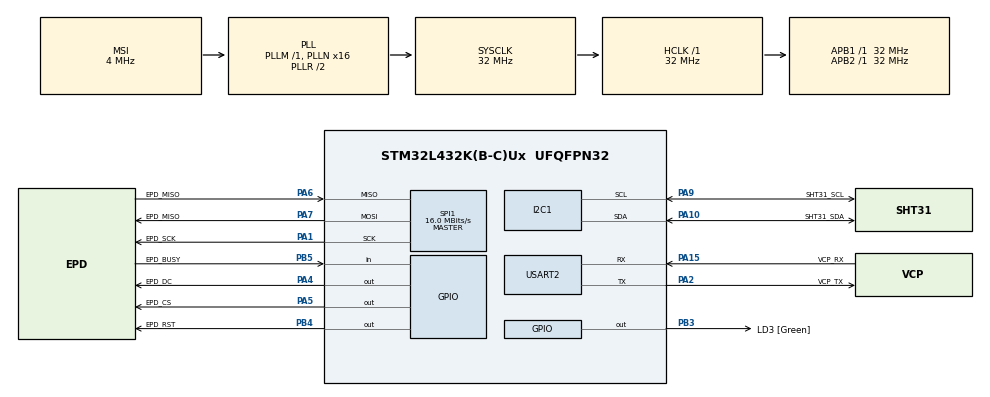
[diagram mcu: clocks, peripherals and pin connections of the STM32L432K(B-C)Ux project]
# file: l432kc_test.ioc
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I2C1.Timing=0x00707CBB
Mcu.Family=STM32L4
Mcu.Name=STM32L432K(B-C)Ux
Mcu.Package=UFQFPN32
NVIC.PriorityGroup=NVIC_PRIORITYGROUP_4
PA0.GPIO_Label=MCO [High speed clock in]
PA0.Mode=HSE-External-Clock-Source-for-LittleOrca
PA0.Signal=RCC_CK_IN
PA1.GPIO_Label=EPD_SCK
PA1.Mode=Full_Duplex_Master
PA1.Signal=SPI1_SCK
PA10.GPIO_Label=SHT31_SDA
PA10.Mode=I2C
PA10.Signal=I2C1_SDA
PA13\ (JTMS-SWDIO).GPIO_Label=SWDIO
PA13\ (JTMS-SWDIO).Mode=Serial_Wire
PA13\ (JTMS-SWDIO).Signal=SYS_JTMS-SWDIO
PA14\ (JTCK-SWCLK).GPIO_Label=SWCLK
PA14\ (JTCK-SWCLK).Mode=Serial_Wire
PA14\ (JTCK-SWCLK).Signal=SYS_JTCK-SWCLK
PA15\ (JTDI).GPIO_Label=VCP_RX
PA15\ (JTDI).Mode=Asynchronous
PA15\ (JTDI).Signal=USART2_RX
PA2.GPIO_Label=VCP_TX
PA2.Mode=Asynchronous
PA2.Signal=USART2_TX
PA4.GPIO_Label=EPD_DC
PA4.Signal=GPIO_Output
PA5.GPIO_Label=EPD_CS
PA5.Signal=GPIO_Output
PA6.GPIO_Label=EPD_MISO
PA6.Mode=Full_Duplex_Master
PA6.Signal=SPI1_MISO
PA7.GPIO_Label=EPD_MISO
PA7.Mode=Full_Duplex_Master
PA7.Signal=SPI1_MOSI
PA9.GPIO_Label=SHT31_SCL
PA9.Mode=I2C
PA9.Signal=I2C1_SCL
PB3\ (JTDO-TRACESWO).GPIO_Label=LD3 [Green]
PB3\ (JTDO-TRACESWO).Signal=GPIO_Output
PB4\ (NJTRST).GPIO_Label=EPD_RST
PB4\ (NJTRST).Signal=GPIO_Output
PB5.GPIO_Label=EPD_BUSY
PB5.Signal=GPIO_Input
PC14-OSC32_IN\ (PC14).Mode=LSE-External-Oscillator
PC14-OSC32_IN\ (PC14).Signal=RCC_OSC32_IN
PC15-OSC32_OUT\ (PC15).Mode=LSE-External-Oscillator
PC15-OSC32_OUT\ (PC15).Signal=RCC_OSC32_OUT
ProjectManager.HeapSize=0x200
ProjectManager.StackSize=0x400
ProjectManager.TargetToolchain=STM32CubeIDE
RCC.AHBFreq_Value=32000000
RCC.APB1Freq_Value=32000000
RCC.APB1TimFreq_Value=32000000
RCC.APB2Freq_Value=32000000
RCC.APB2TimFreq_Value=32000000
RCC.CortexFreq_Value=32000000
RCC.HCLKFreq_Value=32000000
RCC.HSE_VALUE=8000000
RCC.HSI16_VALUE=16000000
RCC.HSI48_VALUE=48000000
RCC.HSI_VALUE=16000000
RCC.MSI_VALUE=4000000
RCC.PLLMUL=RCC_PLLMUL_4
RCC.PLLN=16
RCC.SYSCLKFreq_VALUE=32000000
RCC.SYSCLKSource=RCC_SYSCLKSOURCE_PLLCLK
RCC.VCOOutputFreq_Value=64000000
SPI1.BaudRatePrescaler=SPI_BAUDRATEPRESCALER_2
SPI1.CalculateBaudRate=16.0 MBits/s
SPI1.Direction=SPI_DIRECTION_2LINES
SPI1.Mode=SPI_MODE_MASTER
SPI1.VirtualType=VM_MASTER
USART2.VirtualMode-Asynchronous=VM_ASYNC
board=NUCLEO-L432KC

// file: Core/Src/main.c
/* USER CODE BEGIN Header */
/**
  ******************************************************************************
  * @file           : main.c
  * @brief          : Main program body
  ******************************************************************************
  * @attention
  *
  * <h2><center>&copy; Copyright (c) 2020 STMicroelectronics.
  * All rights reserved.</center></h2>
  *
  * This software component is licensed by ST under BSD 3-Clause license,
  * the "License"; You may not use this file except in compliance with the
  * License. You may obtain a copy of the License at:
  *                        opensource.org/licenses/BSD-3-Clause
  *
  ******************************************************************************
  */
/* USER CODE END Header */

#include "main.h"

I2C_HandleTypeDef hi2c1;

SPI_HandleTypeDef hspi1;

UART_HandleTypeDef huart2;

void SystemClock_Config(void);
static void MX_GPIO_Init(void);
static void MX_I2C1_Init(void);
static void MX_USART2_UART_Init(void);
static void MX_SPI1_Init(void);

int main(void)
{
  /* USER CODE BEGIN 1 */
	uint8_t buf[12];
	HAL_StatusTypeDef result_send;
	uint8_t result[6];
	float temperature_val;
	float humid_val;
  /* USER CODE END 1 */

  /* MCU Configuration--------------------------------------------------------*/

  /* Reset of all peripherals, Initializes the Flash interface and the Systick. */
  HAL_Init();

  /* Configure the system clock */
  SystemClock_Config();

  /* Initialize all configured peripherals */
  MX_GPIO_Init();
  MX_I2C1_Init();
  MX_USART2_UART_Init();
  MX_SPI1_Init();

  /* Infinite loop */
  /* USER CODE BEGIN WHILE */
  while (1)
  {
	  HAL_GPIO_WritePin(LD3_GPIO_Port, LD3_Pin, GPIO_PIN_SET);
	  HAL_Delay(1000);
	  HAL_GPIO_WritePin(LD3_GPIO_Port, LD3_Pin, GPIO_PIN_RESET);
	  HAL_Delay(1000);
	  //HAL_UART_Transmit(&huart2, buf, strlen((char*)buf), HAL_MAX_DELAY);
	  // SHT31D specific stuff
	  // let's try single shot aquisition of the SHT31D - 0x2C0D (medium repetability, clock stretching enabled)
	  // return is 2 byte temp + 1 byte CRC + 2 byte RH + 1 byte CRC (6 bytes)
	  uint8_t i2c_data[2]={0x2C,0x0D};
	  uint8_t SHT31_D_ADDR = 0x44 << 1;
	  result_send = HAL_I2C_Master_Transmit(&hi2c1, SHT31_D_ADDR, i2c_data, 2, HAL_MAX_DELAY);
	  if(result_send == HAL_OK)
	  {
		  HAL_I2C_Master_Receive(&hi2c1, SHT31_D_ADDR, result, 6, HAL_MAX_DELAY);
		  //convert stuff
		  uint16_t temperature = (result[0] << 8) + result[1];
		  temperature_val = -45+175*((float)temperature/65535);
		  uint16_t humid = (result[3] << 8) + result[4];
		  humid_val = 100*((float)humid/65535);
	  }
	  temperature_val=temperature_val*100;
	  sprintf(buf,"%u.%u C \r\n", (unsigned int)temperature_val/100, (unsigned int)temperature_val%100);
	  HAL_UART_Transmit(&huart2, buf, strlen((char*)buf), HAL_MAX_DELAY);
	  sprintf(buf,"%u.%u RH \r\n", (unsigned int)humid_val, (unsigned int)humid_val%100);
	  HAL_UART_Transmit(&huart2, buf, strlen((char*)buf), HAL_MAX_DELAY);
    /* USER CODE END WHILE */

  }
}

void SystemClock_Config(void)
{
  RCC_OscInitTypeDef RCC_OscInitStruct = {0};
  RCC_ClkInitTypeDef RCC_ClkInitStruct = {0};
  RCC_PeriphCLKInitTypeDef PeriphClkInit = {0};

  /** Configure LSE Drive Capability
  */
  HAL_PWR_EnableBkUpAccess();
  __HAL_RCC_LSEDRIVE_CONFIG(RCC_LSEDRIVE_LOW);
  /** Initializes the CPU, AHB and APB busses clocks
  */
  RCC_OscInitStruct.OscillatorType = RCC_OSCILLATORTYPE_LSE|RCC_OSCILLATORTYPE_MSI;
  RCC_OscInitStruct.LSEState = RCC_LSE_ON;
  RCC_OscInitStruct.MSIState = RCC_MSI_ON;
  RCC_OscInitStruct.MSICalibrationValue = 0;
  RCC_OscInitStruct.MSIClockRange = RCC_MSIRANGE_6;
  RCC_OscInitStruct.PLL.PLLState = RCC_PLL_ON;
  RCC_OscInitStruct.PLL.PLLSource = RCC_PLLSOURCE_MSI;
  RCC_OscInitStruct.PLL.PLLM = 1;
  RCC_OscInitStruct.PLL.PLLN = 16;
  RCC_OscInitStruct.PLL.PLLP = RCC_PLLP_DIV7;
  RCC_OscInitStruct.PLL.PLLQ = RCC_PLLQ_DIV2;
  RCC_OscInitStruct.PLL.PLLR = RCC_PLLR_DIV2;
  if (HAL_RCC_OscConfig(&RCC_OscInitStruct) != HAL_OK)
  {
    Error_Handler();
  }
  /** Initializes the CPU, AHB and APB busses clocks
  */
  RCC_ClkInitStruct.ClockType = RCC_CLOCKTYPE_HCLK|RCC_CLOCKTYPE_SYSCLK
                              |RCC_CLOCKTYPE_PCLK1|RCC_CLOCKTYPE_PCLK2;
  RCC_ClkInitStruct.SYSCLKSource = RCC_SYSCLKSOURCE_PLLCLK;
  RCC_ClkInitStruct.AHBCLKDivider = RCC_SYSCLK_DIV1;
  RCC_ClkInitStruct.APB1CLKDivider = RCC_HCLK_DIV1;
  RCC_ClkInitStruct.APB2CLKDivider = RCC_HCLK_DIV1;

  if (HAL_RCC_ClockConfig(&RCC_ClkInitStruct, FLASH_LATENCY_1) != HAL_OK)
  {
    Error_Handler();
  }
  PeriphClkInit.PeriphClockSelection = RCC_PERIPHCLK_USART2|RCC_PERIPHCLK_I2C1;
  PeriphClkInit.Usart2ClockSelection = RCC_USART2CLKSOURCE_PCLK1;
  PeriphClkInit.I2c1ClockSelection = RCC_I2C1CLKSOURCE_PCLK1;
  if (HAL_RCCEx_PeriphCLKConfig(&PeriphClkInit) != HAL_OK)
  {
    Error_Handler();
  }
  /** Configure the main internal regulator output voltage
  */
  if (HAL_PWREx_ControlVoltageScaling(PWR_REGULATOR_VOLTAGE_SCALE1) != HAL_OK)
  {
    Error_Handler();
  }
  /** Enable MSI Auto calibration
  */
  HAL_RCCEx_EnableMSIPLLMode();
}

static void MX_I2C1_Init(void)
{

  hi2c1.Instance = I2C1;
  hi2c1.Init.Timing = 0x00707CBB;
  hi2c1.Init.OwnAddress1 = 0;
  hi2c1.Init.AddressingMode = I2C_ADDRESSINGMODE_7BIT;
  hi2c1.Init.DualAddressMode = I2C_DUALADDRESS_DISABLE;
  hi2c1.Init.OwnAddress2 = 0;
  hi2c1.Init.OwnAddress2Masks = I2C_OA2_NOMASK;
  hi2c1.Init.GeneralCallMode = I2C_GENERALCALL_DISABLE;
  hi2c1.Init.NoStretchMode = I2C_NOSTRETCH_DISABLE;
  if (HAL_I2C_Init(&hi2c1) != HAL_OK)
  {
    Error_Handler();
  }
  /** Configure Analogue filter
  */
  if (HAL_I2CEx_ConfigAnalogFilter(&hi2c1, I2C_ANALOGFILTER_ENABLE) != HAL_OK)
  {
    Error_Handler();
  }
  /** Configure Digital filter
  */
  if (HAL_I2CEx_ConfigDigitalFilter(&hi2c1, 0) != HAL_OK)
  {
    Error_Handler();
  }

}

static void MX_SPI1_Init(void)
{

  /* SPI1 parameter configuration*/
  hspi1.Instance = SPI1;
  hspi1.Init.Mode = SPI_MODE_MASTER;
  hspi1.Init.Direction = SPI_DIRECTION_2LINES;
  hspi1.Init.DataSize = SPI_DATASIZE_4BIT;
  hspi1.Init.CLKPolarity = SPI_POLARITY_LOW;
  hspi1.Init.CLKPhase = SPI_PHASE_1EDGE;
  hspi1.Init.NSS = SPI_NSS_SOFT;
  hspi1.Init.BaudRatePrescaler = SPI_BAUDRATEPRESCALER_2;
  hspi1.Init.FirstBit = SPI_FIRSTBIT_MSB;
  hspi1.Init.TIMode = SPI_TIMODE_DISABLE;
  hspi1.Init.CRCCalculation = SPI_CRCCALCULATION_DISABLE;
  hspi1.Init.CRCPolynomial = 7;
  hspi1.Init.CRCLength = SPI_CRC_LENGTH_DATASIZE;
  hspi1.Init.NSSPMode = SPI_NSS_PULSE_ENABLE;
  if (HAL_SPI_Init(&hspi1) != HAL_OK)
  {
    Error_Handler();
  }

}

static void MX_USART2_UART_Init(void)
{

  huart2.Instance = USART2;
  huart2.Init.BaudRate = 115200;
  huart2.Init.WordLength = UART_WORDLENGTH_8B;
  huart2.Init.StopBits = UART_STOPBITS_1;
  huart2.Init.Parity = UART_PARITY_NONE;
  huart2.Init.Mode = UART_MODE_TX_RX;
  huart2.Init.HwFlowCtl = UART_HWCONTROL_NONE;
  huart2.Init.OverSampling = UART_OVERSAMPLING_16;
  huart2.Init.OneBitSampling = UART_ONE_BIT_SAMPLE_DISABLE;
  huart2.AdvancedInit.AdvFeatureInit = UART_ADVFEATURE_NO_INIT;
  if (HAL_UART_Init(&huart2) != HAL_OK)
  {
    Error_Handler();
  }

}

static void MX_GPIO_Init(void)
{
  GPIO_InitTypeDef GPIO_InitStruct = {0};

  /* GPIO Ports Clock Enable */
  __HAL_RCC_GPIOC_CLK_ENABLE();
  __HAL_RCC_GPIOA_CLK_ENABLE();
  __HAL_RCC_GPIOB_CLK_ENABLE();

  /*Configure GPIO pin Output Level */
  HAL_GPIO_WritePin(GPIOA, EPD_DC_Pin|EPD_CS_Pin, GPIO_PIN_RESET);

  /*Configure GPIO pin Output Level */
  HAL_GPIO_WritePin(GPIOB, LD3_Pin|EPD_RST_Pin, GPIO_PIN_RESET);

  /*Configure GPIO pins : EPD_DC_Pin EPD_CS_Pin */
  GPIO_InitStruct.Pin = EPD_DC_Pin|EPD_CS_Pin;
  GPIO_InitStruct.Mode = GPIO_MODE_OUTPUT_PP;
  GPIO_InitStruct.Pull = GPIO_NOPULL;
  GPIO_InitStruct.Speed = GPIO_SPEED_FREQ_LOW;
  HAL_GPIO_Init(GPIOA, &GPIO_InitStruct);

  /*Configure GPIO pins : LD3_Pin EPD_RST_Pin */
  GPIO_InitStruct.Pin = LD3_Pin|EPD_RST_Pin;
  GPIO_InitStruct.Mode = GPIO_MODE_OUTPUT_PP;
  GPIO_InitStruct.Pull = GPIO_NOPULL;
  GPIO_InitStruct.Speed = GPIO_SPEED_FREQ_LOW;
  HAL_GPIO_Init(GPIOB, &GPIO_InitStruct);

  /*Configure GPIO pin : EPD_BUSY_Pin */
  GPIO_InitStruct.Pin = EPD_BUSY_Pin;
  GPIO_InitStruct.Mode = GPIO_MODE_INPUT;
  GPIO_InitStruct.Pull = GPIO_NOPULL;
  HAL_GPIO_Init(EPD_BUSY_GPIO_Port, &GPIO_InitStruct);

}

void Error_Handler(void)
{
}

/************************ (C) COPYRIGHT STMicroelectronics *****END OF FILE****/
